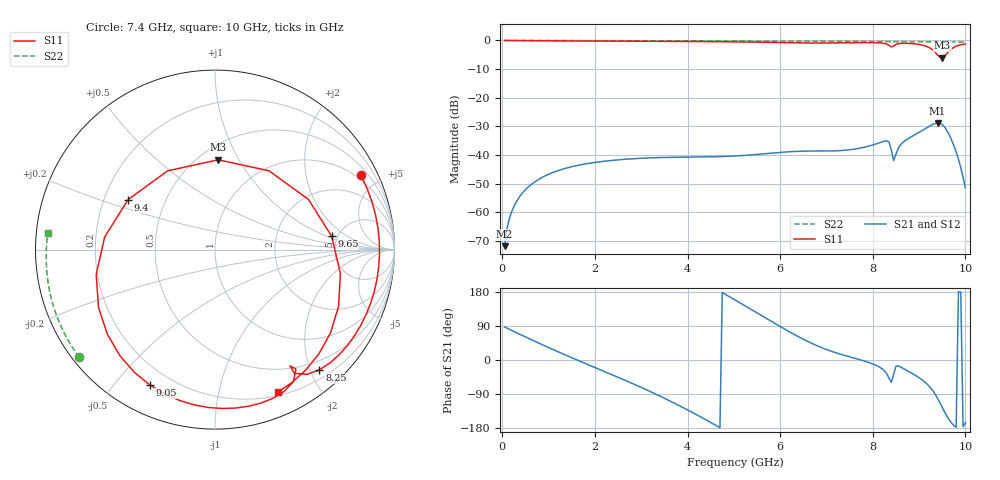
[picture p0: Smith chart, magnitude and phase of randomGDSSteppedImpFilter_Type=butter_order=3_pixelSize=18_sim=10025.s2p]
! freq	dB(S11)	phase(S11)	dB(S12)	phase(S12)
!  dB(S21)	phase(S21)	dB(S22)	phase(S22)
!S-par simulation data
#  GHz  S  DB  R 50
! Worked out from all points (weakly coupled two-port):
!   200 points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, 50 MHz to 10 GHz, reference 50 ohm
!   highest |S21| = -28.82 dB at 9.4 GHz (marker M1); lowest = -71.8 dB at 50 MHz (marker M2)
!   lowest |S11| = -6.0 dB at 9.5 GHz (marker M3), VSWR 3.00, Z = 30.9 + j41.2 ohm
!   |S11| at or under -10 dB: nowhere
!   |S22| runs from -0.6 to 0.0 dB; largest |S21 - S12| = 0
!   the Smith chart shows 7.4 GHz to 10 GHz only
!   S11 on the Smith chart (normalised r, x): 7.4 GHz: 0.80, +3.99; 8.25 GHz: 0.34, -2.15; 9.05 GHz: 0.12, -0.62; 9.4 GHz: 0.30, +0.24; 9.65 GHz: 4.48, +1.16; 10 GHz: 0.24, -1.51
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0.05  -0.00 -4.8  -71.85 87.0  -71.85 87.0  -0.00 -1.1
0.3  -0.04 -28.5  -56.42 72.4  -56.42 72.4  -0.01 -6.6
0.9  -0.11 -84.7  -47.50 38.4  -47.50 38.4  -0.03 -19.6
1.75  -0.19 -162.7  -43.25 -7.0  -43.25 -7.0  -0.05 -37.7
2.2  -0.23 156.0  -42.19 -30.1  -42.19 -30.1  -0.06 -47.0
2.65  -0.26 114.6  -41.50 -53.5  -41.50 -53.5  -0.07 -56.1
3.4  -0.30 46.7  -40.90 -95.0  -40.90 -95.0  -0.09 -70.9
4.15  -0.36 -17.1  -40.73 -141.4  -40.73 -141.4  -0.12 -85.1
5.05  -0.49 -89.6  -40.32 156.6  -40.32 156.6  -0.16 -101.4
5.5  -0.61 -127.8  -39.80 124.1  -39.80 124.1  -0.18 -109.3
6  -0.77 -175.7  -39.10 88.3  -39.10 88.3  -0.20 -118.0
6.7  -0.91 105.4  -38.62 42.9  -38.62 42.9  -0.25 -129.8
7.4  -0.80 27.1  -38.35 11.8  -38.35 11.8  -0.30 -141.5
8.25  -1.04 -49.0  -35.17 -28.4  -35.17 -28.4  -0.38 -155.7
8.35  -1.73 -57.3  -35.51 -47.5  -35.51 -47.5  -0.39 -157.3
8.45  -1.90 -55.9  -41.96 -38.3  -41.96 -38.3  -0.40 -159.0
9.05  -1.55 -115.8  -31.63 -50.9  -31.63 -50.9  -0.47 -169.2
9.25  -2.80 -153.6  -29.71 -73.7  -29.71 -73.7  -0.49 -172.6
9.4  -5.06 150.1  -28.82 -101.1  -28.82 -101.1  -0.51 -175.2
9.5  -6.01 87.9  -29.38 -124.8  -29.38 -124.8  -0.52 -176.9
9.65  -3.68 6.5  -32.95 -157.9  -32.95 -157.9  -0.54 -179.5
10  -1.23 -66.2  -51.41 -165.8  -51.41 -165.8  -0.58 174.3
